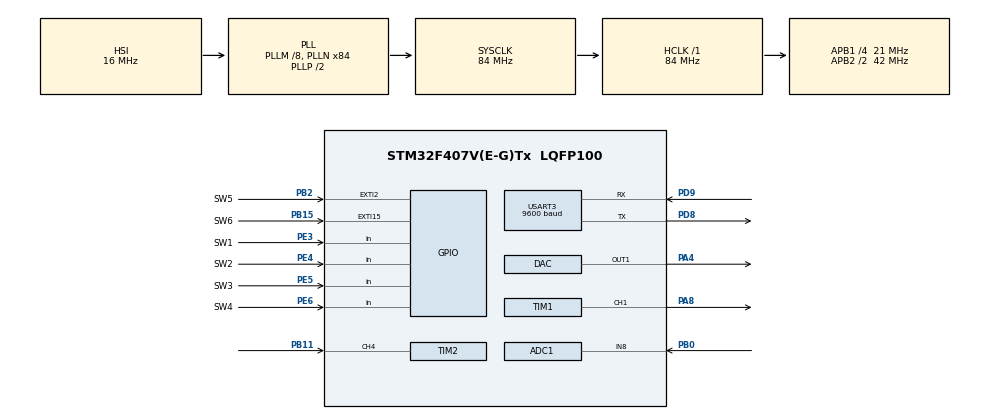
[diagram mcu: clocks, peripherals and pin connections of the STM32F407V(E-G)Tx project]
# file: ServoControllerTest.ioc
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ADC1.Channel-1\#ChannelRegularConversion=ADC_CHANNEL_8
ADC1.NbrOfConversionFlag=1
ADC1.Rank-1\#ChannelRegularConversion=1
ADC1.SamplingTime-1\#ChannelRegularConversion=ADC_SAMPLETIME_3CYCLES
ADC1.master=1
Mcu.Family=STM32F4
Mcu.Name=STM32F407V(E-G)Tx
Mcu.Package=LQFP100
NVIC.EXTI15_10_IRQn=true\:0\:0\:false\:false\:true\:true\:true
NVIC.EXTI2_IRQn=true\:0\:0\:false\:false\:true\:true\:true
NVIC.PriorityGroup=NVIC_PRIORITYGROUP_4
NVIC.TIM2_IRQn=true\:0\:0\:false\:false\:true\:true\:true
NVIC.USART3_IRQn=true\:0\:0\:false\:false\:true\:true\:true
PA4.Signal=COMP_DAC1_group
PA8.Signal=S_TIM1_CH1
PB0.Signal=ADCx_IN8
PB11.Signal=S_TIM2_CH4
PB15.GPIO_Label=SW6
PB15.Signal=GPXTI15
PB2.GPIO_Label=SW5
PB2.Signal=GPXTI2
PD8.Mode=Asynchronous
PD8.Signal=USART3_TX
PD9.Mode=Asynchronous
PD9.Signal=USART3_RX
PE3.GPIO_Label=SW1
PE3.Signal=GPIO_Input
PE4.GPIO_Label=SW2
PE4.Signal=GPIO_Input
PE5.GPIO_Label=SW3
PE5.Signal=GPIO_Input
PE6.GPIO_Label=SW4
PE6.Signal=GPIO_Input
ProjectManager.HeapSize=0x200
ProjectManager.StackSize=0x400
ProjectManager.TargetToolchain=MDK-ARM V5
RCC.48MHZClocksFreq_Value=42000000
RCC.AHBFreq_Value=84000000
RCC.APB1CLKDivider=RCC_HCLK_DIV4
RCC.APB1Freq_Value=21000000
RCC.APB1TimFreq_Value=42000000
RCC.APB2CLKDivider=RCC_HCLK_DIV2
RCC.APB2Freq_Value=42000000
RCC.APB2TimFreq_Value=84000000
RCC.CortexFreq_Value=84000000
RCC.HCLKFreq_Value=84000000
RCC.HSE_VALUE=25000000
RCC.HSI_VALUE=16000000
RCC.LSE_VALUE=32768
RCC.PLLM=8
RCC.PLLN=84
RCC.SYSCLKFreq_VALUE=84000000
RCC.SYSCLKSource=RCC_SYSCLKSOURCE_PLLCLK
RCC.VCOOutputFreq_Value=168000000
SH.ADCx_IN8.0=ADC1_IN8,IN8
SH.COMP_DAC1_group.0=DAC_OUT1,DAC_OUT1
SH.S_TIM1_CH1.0=TIM1_CH1,PWM Generation1 CH1
SH.S_TIM2_CH4.0=TIM2_CH4,Input_Capture4_from_TI4
TIM1.Channel-PWM\ Generation1\ CH1=TIM_CHANNEL_1
TIM1.Period=999
TIM1.Prescaler=84
TIM1.Pulse-PWM\ Generation1\ CH1=0
TIM2.AutoReloadPreload=TIM_AUTORELOAD_PRELOAD_ENABLE
TIM2.Channel-Input_Capture4_from_TI4=TIM_CHANNEL_4
TIM2.ICPolarity_CH4=TIM_INPUTCHANNELPOLARITY_RISING
TIM2.Period=65535
TIM2.Prescaler=42
USART3.BaudRate=9600
USART3.VirtualMode=VM_ASYNC
VP_TIM1_VS_ClockSourceINT.Mode=Internal
board=custom

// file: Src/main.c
/* USER CODE BEGIN Header */
/**
  ******************************************************************************
  * @file           : main.c
  * @brief          : Main program body
  ******************************************************************************
  * @attention
  *
  * <h2><center>&copy; Copyright (c) 2019 STMicroelectronics.
  * All rights reserved.</center></h2>
  *
  * This software component is licensed by ST under BSD 3-Clause license,
  * the "License"; You may not use this file except in compliance with the
  * License. You may obtain a copy of the License at:
  *                        opensource.org/licenses/BSD-3-Clause
  *
  ******************************************************************************
  */
/* USER CODE END Header */

#include "main.h"

/* USER CODE BEGIN Includes */
#include <stdio.h>
#include <string.h>
#include "bsp.h"
/* USER CODE END Includes */

/* USER CODE BEGIN PM */
uint16_t Value;
int SW5 = 0;
int SW6 = 0;
int period = 0;
int V;
char txt1[] ="CHECK!";
char txt2[] ="";
static char Buffer[20];
/* USER CODE END PM */

ADC_HandleTypeDef hadc1;

DAC_HandleTypeDef hdac;

TIM_HandleTypeDef htim1;
TIM_HandleTypeDef htim2;

UART_HandleTypeDef huart3;

void SystemClock_Config(void);
static void MX_GPIO_Init(void);
static void MX_TIM1_Init(void);
static void MX_TIM2_Init(void);
static void MX_ADC1_Init(void);
static void MX_DAC_Init(void);
static void MX_USART3_UART_Init(void);

/* USER CODE BEGIN 0 */
int fputc(int ch, FILE *f)
{
  return ITM_SendChar(ch);
}

int Enable1(){
		static int EV1 = 0;
	if(SW5){
			EV1 = !EV1;
			SW5 = 0;
	}
	return EV1;
}

int Enable2(){
		static int EV2 = 0;
	if(SW6){
			EV2 = !EV2;
			SW6 = 0;
	}
	return EV2;
}

void PDM(){

	if(SW1()== SET){
		period = 1999; //2000 us = 500Hz
	}else {
		period = 0;
	}
    __HAL_TIM_SET_AUTORELOAD(&htim1, period);
}

void CPW(){
	if(SW2() == SET){
		__HAL_TIM_SET_COMPARE(&htim1, TIM_CHANNEL_1, period/4);
		printf("Period Value: %d\n", Value);
		Value = 0;
	 }
}
void GV(){
	if(SW3() == SET){
		V = 1861;//(1.5/3.3*4095)
	}else{
		V = 0;
	}

    HAL_DAC_SetValue(&hdac, DAC_CHANNEL_1, DAC_ALIGN_12B_R, V);
    HAL_DAC_Start(&hdac, DAC_CHANNEL_1);
}

void RV(){

	 if(SW4() == SET){
		HAL_ADC_Start(&hadc1);
    while(HAL_ADC_PollForConversion(&hadc1, 1000));
    uint16_t analogVal = HAL_ADC_GetValue(&hadc1);
		 int A=analogVal*100/1241; int B=A/100; int C=A%100 ;
		printf("Analog value: %d . %d Volt\n",B,C);
	}
}

void SUART(int EV1){

  if(EV1 == 1){
		HAL_UART_Transmit_IT(&huart3, txt1, strlen(txt1));
		//
		HAL_UART_Receive_IT(&huart3, Buffer, strlen(txt1));
printf("TRANSMIT UART IS SENDING...\n");
	}
}
void RUART(int EV2){

			if(EV2==1){

			HAL_UART_Receive_IT(&huart3, Buffer, strlen(txt1));
			printf("Text: %s, %s\n", txt1, Buffer);
			printf("Number of received characters : %d\n", strlen(Buffer));
		}

}

/* USER CODE END 0 */

int main(void)
{
  /* USER CODE BEGIN 1 */
uint16_t period = 0;
  /* USER CODE END 1 */

  /* MCU Configuration--------------------------------------------------------*/

  /* Reset of all peripherals, Initializes the Flash interface and the Systick. */
  HAL_Init();

  /* Configure the system clock */
  SystemClock_Config();

  /* Initialize all configured peripherals */
  MX_GPIO_Init();
  MX_TIM1_Init();
  MX_TIM2_Init();
  MX_ADC1_Init();
  MX_DAC_Init();
  MX_USART3_UART_Init();
  /* USER CODE BEGIN 2 */
  HAL_TIM_Base_Start(&htim1);   //
  HAL_TIM_PWM_Start(&htim1,TIM_CHANNEL_1);
  HAL_TIM_Base_Start(&htim2);
  HAL_TIM_IC_Start_IT(&htim2, TIM_CHANNEL_4);  //START INTERRUPT
  /* USER CODE END 2 */

  /* Infinite loop */
  while (1)
  {

    /* USER CODE BEGIN 3 */

	 PDM();
	 CPW();
	 GV();
	 RV();
	 int EV1 = Enable1();
	 int EV2 = Enable2();
	 SUART(EV1);
	 RUART(EV2);

	printf("--------------------------------------------------\n");
	HAL_Delay(2000);

	}
  /* USER CODE END 3 */
}

void SystemClock_Config(void)
{
  RCC_OscInitTypeDef RCC_OscInitStruct = {0};
  RCC_ClkInitTypeDef RCC_ClkInitStruct = {0};

  /** Configure the main internal regulator output voltage
  */
  __HAL_RCC_PWR_CLK_ENABLE();
  __HAL_PWR_VOLTAGESCALING_CONFIG(PWR_REGULATOR_VOLTAGE_SCALE1);
  /** Initializes the CPU, AHB and APB busses clocks
  */
  RCC_OscInitStruct.OscillatorType = RCC_OSCILLATORTYPE_HSI;
  RCC_OscInitStruct.HSIState = RCC_HSI_ON;
  RCC_OscInitStruct.HSICalibrationValue = RCC_HSICALIBRATION_DEFAULT;
  RCC_OscInitStruct.PLL.PLLState = RCC_PLL_ON;
  RCC_OscInitStruct.PLL.PLLSource = RCC_PLLSOURCE_HSI;
  RCC_OscInitStruct.PLL.PLLM = 8;
  RCC_OscInitStruct.PLL.PLLN = 84;
  RCC_OscInitStruct.PLL.PLLP = RCC_PLLP_DIV2;
  RCC_OscInitStruct.PLL.PLLQ = 4;
  if (HAL_RCC_OscConfig(&RCC_OscInitStruct) != HAL_OK)
  {
    Error_Handler();
  }
  /** Initializes the CPU, AHB and APB busses clocks
  */
  RCC_ClkInitStruct.ClockType = RCC_CLOCKTYPE_HCLK|RCC_CLOCKTYPE_SYSCLK
                              |RCC_CLOCKTYPE_PCLK1|RCC_CLOCKTYPE_PCLK2;
  RCC_ClkInitStruct.SYSCLKSource = RCC_SYSCLKSOURCE_PLLCLK;
  RCC_ClkInitStruct.AHBCLKDivider = RCC_SYSCLK_DIV1;
  RCC_ClkInitStruct.APB1CLKDivider = RCC_HCLK_DIV4;
  RCC_ClkInitStruct.APB2CLKDivider = RCC_HCLK_DIV2;

  if (HAL_RCC_ClockConfig(&RCC_ClkInitStruct, FLASH_LATENCY_2) != HAL_OK)
  {
    Error_Handler();
  }
}

static void MX_ADC1_Init(void)
{

  ADC_ChannelConfTypeDef sConfig = {0};

  /** Configure the global features of the ADC (Clock, Resolution, Data Alignment and number of conversion)
  */
  hadc1.Instance = ADC1;
  hadc1.Init.ClockPrescaler = ADC_CLOCK_SYNC_PCLK_DIV2;
  hadc1.Init.Resolution = ADC_RESOLUTION_12B;
  hadc1.Init.ScanConvMode = DISABLE;
  hadc1.Init.ContinuousConvMode = DISABLE;
  hadc1.Init.DiscontinuousConvMode = DISABLE;
  hadc1.Init.ExternalTrigConvEdge = ADC_EXTERNALTRIGCONVEDGE_NONE;
  hadc1.Init.ExternalTrigConv = ADC_SOFTWARE_START;
  hadc1.Init.DataAlign = ADC_DATAALIGN_RIGHT;
  hadc1.Init.NbrOfConversion = 1;
  hadc1.Init.DMAContinuousRequests = DISABLE;
  hadc1.Init.EOCSelection = ADC_EOC_SINGLE_CONV;
  if (HAL_ADC_Init(&hadc1) != HAL_OK)
  {
    Error_Handler();
  }
  /** Configure for the selected ADC regular channel its corresponding rank in the sequencer and its sample time.
  */
  sConfig.Channel = ADC_CHANNEL_8;
  sConfig.Rank = 1;
  sConfig.SamplingTime = ADC_SAMPLETIME_3CYCLES;
  if (HAL_ADC_ConfigChannel(&hadc1, &sConfig) != HAL_OK)
  {
    Error_Handler();
  }

}

static void MX_DAC_Init(void)
{

  DAC_ChannelConfTypeDef sConfig = {0};

  /** DAC Initialization
  */
  hdac.Instance = DAC;
  if (HAL_DAC_Init(&hdac) != HAL_OK)
  {
    Error_Handler();
  }
  /** DAC channel OUT1 config
  */
  sConfig.DAC_Trigger = DAC_TRIGGER_NONE;
  sConfig.DAC_OutputBuffer = DAC_OUTPUTBUFFER_ENABLE;
  if (HAL_DAC_ConfigChannel(&hdac, &sConfig, DAC_CHANNEL_1) != HAL_OK)
  {
    Error_Handler();
  }

}

static void MX_TIM1_Init(void)
{

  TIM_ClockConfigTypeDef sClockSourceConfig = {0};
  TIM_MasterConfigTypeDef sMasterConfig = {0};
  TIM_OC_InitTypeDef sConfigOC = {0};
  TIM_BreakDeadTimeConfigTypeDef sBreakDeadTimeConfig = {0};

  htim1.Instance = TIM1;
  htim1.Init.Prescaler = 84;
  htim1.Init.CounterMode = TIM_COUNTERMODE_UP;
  htim1.Init.Period = 999;
  htim1.Init.ClockDivision = TIM_CLOCKDIVISION_DIV1;
  htim1.Init.RepetitionCounter = 0;
  htim1.Init.AutoReloadPreload = TIM_AUTORELOAD_PRELOAD_DISABLE;
  if (HAL_TIM_Base_Init(&htim1) != HAL_OK)
  {
    Error_Handler();
  }
  sClockSourceConfig.ClockSource = TIM_CLOCKSOURCE_INTERNAL;
  if (HAL_TIM_ConfigClockSource(&htim1, &sClockSourceConfig) != HAL_OK)
  {
    Error_Handler();
  }
  if (HAL_TIM_PWM_Init(&htim1) != HAL_OK)
  {
    Error_Handler();
  }
  sMasterConfig.MasterOutputTrigger = TIM_TRGO_RESET;
  sMasterConfig.MasterSlaveMode = TIM_MASTERSLAVEMODE_DISABLE;
  if (HAL_TIMEx_MasterConfigSynchronization(&htim1, &sMasterConfig) != HAL_OK)
  {
    Error_Handler();
  }
  sConfigOC.OCMode = TIM_OCMODE_PWM1;
  sConfigOC.Pulse = 0;
  sConfigOC.OCPolarity = TIM_OCPOLARITY_HIGH;
  sConfigOC.OCNPolarity = TIM_OCNPOLARITY_HIGH;
  sConfigOC.OCFastMode = TIM_OCFAST_DISABLE;
  sConfigOC.OCIdleState = TIM_OCIDLESTATE_RESET;
  sConfigOC.OCNIdleState = TIM_OCNIDLESTATE_RESET;
  if (HAL_TIM_PWM_ConfigChannel(&htim1, &sConfigOC, TIM_CHANNEL_1) != HAL_OK)
  {
    Error_Handler();
  }
  sBreakDeadTimeConfig.OffStateRunMode = TIM_OSSR_DISABLE;
  sBreakDeadTimeConfig.OffStateIDLEMode = TIM_OSSI_DISABLE;
  sBreakDeadTimeConfig.LockLevel = TIM_LOCKLEVEL_OFF;
  sBreakDeadTimeConfig.DeadTime = 0;
  sBreakDeadTimeConfig.BreakState = TIM_BREAK_DISABLE;
  sBreakDeadTimeConfig.BreakPolarity = TIM_BREAKPOLARITY_HIGH;
  sBreakDeadTimeConfig.AutomaticOutput = TIM_AUTOMATICOUTPUT_DISABLE;
  if (HAL_TIMEx_ConfigBreakDeadTime(&htim1, &sBreakDeadTimeConfig) != HAL_OK)
  {
    Error_Handler();
  }
  HAL_TIM_MspPostInit(&htim1);

}

static void MX_TIM2_Init(void)
{

  TIM_MasterConfigTypeDef sMasterConfig = {0};
  TIM_IC_InitTypeDef sConfigIC = {0};

  htim2.Instance = TIM2;
  htim2.Init.Prescaler = 42;
  htim2.Init.CounterMode = TIM_COUNTERMODE_UP;
  htim2.Init.Period = 65535;
  htim2.Init.ClockDivision = TIM_CLOCKDIVISION_DIV1;
  htim2.Init.AutoReloadPreload = TIM_AUTORELOAD_PRELOAD_ENABLE;
  if (HAL_TIM_IC_Init(&htim2) != HAL_OK)
  {
    Error_Handler();
  }
  sMasterConfig.MasterOutputTrigger = TIM_TRGO_RESET;
  sMasterConfig.MasterSlaveMode = TIM_MASTERSLAVEMODE_DISABLE;
  if (HAL_TIMEx_MasterConfigSynchronization(&htim2, &sMasterConfig) != HAL_OK)
  {
    Error_Handler();
  }
  sConfigIC.ICPolarity = TIM_INPUTCHANNELPOLARITY_RISING;
  sConfigIC.ICSelection = TIM_ICSELECTION_DIRECTTI;
  sConfigIC.ICPrescaler = TIM_ICPSC_DIV1;
  sConfigIC.ICFilter = 0;
  if (HAL_TIM_IC_ConfigChannel(&htim2, &sConfigIC, TIM_CHANNEL_4) != HAL_OK)
  {
    Error_Handler();
  }

}

static void MX_USART3_UART_Init(void)
{

  huart3.Instance = USART3;
  huart3.Init.BaudRate = 9600;
  huart3.Init.WordLength = UART_WORDLENGTH_8B;
  huart3.Init.StopBits = UART_STOPBITS_1;
  huart3.Init.Parity = UART_PARITY_NONE;
  huart3.Init.Mode = UART_MODE_TX_RX;
  huart3.Init.HwFlowCtl = UART_HWCONTROL_NONE;
  huart3.Init.OverSampling = UART_OVERSAMPLING_16;
  if (HAL_UART_Init(&huart3) != HAL_OK)
  {
    Error_Handler();
  }

}

static void MX_GPIO_Init(void)
{
  GPIO_InitTypeDef GPIO_InitStruct = {0};

  /* GPIO Ports Clock Enable */
  __HAL_RCC_GPIOE_CLK_ENABLE();
  __HAL_RCC_GPIOA_CLK_ENABLE();
  __HAL_RCC_GPIOB_CLK_ENABLE();
  __HAL_RCC_GPIOD_CLK_ENABLE();

  /*Configure GPIO pins : SW1_Pin SW2_Pin SW3_Pin SW4_Pin */
  GPIO_InitStruct.Pin = SW1_Pin|SW2_Pin|SW3_Pin|SW4_Pin;
  GPIO_InitStruct.Mode = GPIO_MODE_INPUT;
  GPIO_InitStruct.Pull = GPIO_NOPULL;
  HAL_GPIO_Init(GPIOE, &GPIO_InitStruct);

  /*Configure GPIO pins : SW5_Pin SW6_Pin */
  GPIO_InitStruct.Pin = SW5_Pin|SW6_Pin;
  GPIO_InitStruct.Mode = GPIO_MODE_IT_RISING;
  GPIO_InitStruct.Pull = GPIO_NOPULL;
  HAL_GPIO_Init(GPIOB, &GPIO_InitStruct);

  /* EXTI interrupt init*/
  HAL_NVIC_SetPriority(EXTI2_IRQn, 0, 0);
  HAL_NVIC_EnableIRQ(EXTI2_IRQn);

  HAL_NVIC_SetPriority(EXTI15_10_IRQn, 0, 0);
  HAL_NVIC_EnableIRQ(EXTI15_10_IRQn);

}

/* USER CODE BEGIN 4 */
void HAL_TIM_IC_CaptureCallback (TIM_HandleTypeDef *htim)
{
  extern uint16_t Value;
  Value = __HAL_TIM_GetCompare(htim, TIM_CHANNEL_4);
  //Value = HAL_TIM_ReadCapturedValue(htim, TIM_CHANNEL_4);
  __HAL_TIM_SetCounter(htim, 0);
}

void HAL_USART_RxCpltCallback(UART_HandleTypeDef *huart)
{
}
/* USER CODE END 4 */

void Error_Handler(void)
{
}

/************************ (C) COPYRIGHT STMicroelectronics *****END OF FILE****/
